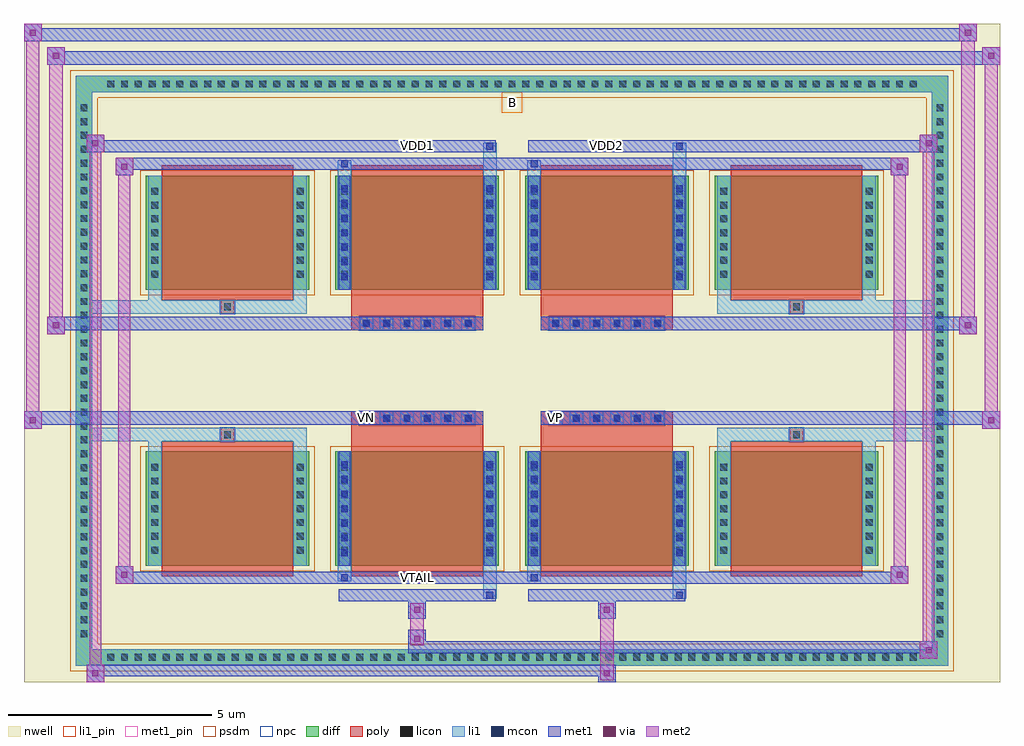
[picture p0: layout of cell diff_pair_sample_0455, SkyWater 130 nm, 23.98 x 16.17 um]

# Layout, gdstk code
import gdstk
lib = gdstk.Library(unit=1e-6, precision=5e-09)
def R(c, l, rs):  # rectangles x0, y0, x1, y1
    for r in rs: c.add(gdstk.rectangle(r[:2], r[2:], *l))
def A(c, l, x, y, w, h, nx, ny, dx, dy):  # array of equal rectangles
    R(c, l, [(x+i*dx, y+j*dy, x+i*dx+w, y+j*dy+h) for i in range(nx) for j in range(ny)])
def P(c, l, *ps):  # polygons
    for p in ps: c.add(gdstk.Polygon(p, *l))
nwell = (64, 20)
diff = (65, 20)
poly = (66, 20)
licon = (66, 44)
li1_pin = (67, 16)
li1 = (67, 20)
mcon = (67, 44)
met1_pin = (68, 16)
met1 = (68, 20)
via = (68, 44)
met2 = (69, 20)
psdm = (94, 20)
npc = (95, 20)

diff_pair_sample_0455 = lib.new_cell('diff_pair_sample_0455')
R(diff_pair_sample_0455, nwell, [(-11.99,-7.65,11.99,8.52), (-9.31,-5.84,-0.01,-0.8), (0.01,-5.84,9.31,-0.8), (-9.31,0.8,-0.01,5.84), (0.01,0.8,9.31,5.84)])
A(diff_pair_sample_0455, diff, -10.065, -7.25, 0.41, 0.41, 59, 2, 0.34, 14.09)
A(diff_pair_sample_0455, diff, -10.72, -6.665, 0.41, 0.41, 1, 39, 0, 0.34)
A(diff_pair_sample_0455, diff, 10.31, -6.665, 0.41, 0.41, 1, 39, 0, 0.34)
A(diff_pair_sample_0455, diff, -9, -4.795, 4.02, 2.81, 4, 2, 4.66, 6.78)
R(diff_pair_sample_0455, diff, [(-10.065,-7.25,10.065,-6.84), (-10.72,-6.665,-10.31,6.665), (10.31,-6.665,10.72,6.665), (-10.065,6.84,10.065,7.25)])
P(diff_pair_sample_0455, diff, [(10.72,7.25),(-10.72,7.25),(-10.72,-6.84),(-10.31,-6.84),(-10.31,6.84),(10.31,6.84),(10.31,-6.84),(-10.31,-6.84),(-10.72,-6.84),(-10.72,-7.25),(10.72,-7.25)])
A(diff_pair_sample_0455, poly, -8.61, -5.045, 3.24, 3.31, 4, 2, 4.66, 6.78)
A(diff_pair_sample_0455, poly, -3.745, -1.33, 0.33, 0.33, 6, 2, 0.5, 2.33)
A(diff_pair_sample_0455, poly, 0.915, -1.33, 0.33, 0.33, 6, 2, 0.5, 2.33)
R(diff_pair_sample_0455, poly, [(-7.155,-1.735,-6.825,-1.405), (-7.155,-1.735,-6.825,-1.405), (-3.95,-1.735,-0.71,-1.33), (0.71,-1.735,3.95,-1.33), (6.825,-1.735,7.155,-1.405), (6.825,-1.735,7.155,-1.405), (-3.95,-1.33,-0.71,-1), (0.71,-1.33,3.95,-1), (-3.95,1,-0.71,1.33), (0.71,1,3.95,1.33), (-3.95,1.33,-0.71,1.735), (0.71,1.33,3.95,1.735), (-7.155,1.405,-6.825,1.735), (-7.155,1.405,-6.825,1.735), (6.825,1.405,7.155,1.735), (6.825,1.405,7.155,1.735)])
A(diff_pair_sample_0455, licon, -9.945, -7.13, 0.17, 0.17, 59, 2, 0.34, 14.09)
A(diff_pair_sample_0455, licon, -10.6, -6.545, 0.17, 0.17, 1, 39, 0, 0.34)
A(diff_pair_sample_0455, licon, 10.43, -6.545, 0.17, 0.17, 1, 39, 0, 0.34)
A(diff_pair_sample_0455, licon, -8.86, -4.495, 0.17, 0.17, 1, 7, 0, 0.34)
A(diff_pair_sample_0455, licon, -5.29, -4.495, 0.17, 0.17, 1, 7, 0, 0.34)
A(diff_pair_sample_0455, licon, -4.2, -4.495, 0.17, 0.17, 1, 7, 0, 0.34)
A(diff_pair_sample_0455, licon, -0.63, -4.495, 0.17, 0.17, 1, 7, 0, 0.34)
A(diff_pair_sample_0455, licon, 0.46, -4.495, 0.17, 0.17, 1, 7, 0, 0.34)
A(diff_pair_sample_0455, licon, 4.03, -4.495, 0.17, 0.17, 1, 7, 0, 0.34)
A(diff_pair_sample_0455, licon, 5.12, -4.495, 0.17, 0.17, 1, 7, 0, 0.34)
A(diff_pair_sample_0455, licon, 8.69, -4.495, 0.17, 0.17, 1, 7, 0, 0.34)
A(diff_pair_sample_0455, licon, -3.665, -1.25, 0.17, 0.17, 6, 2, 0.5, 2.33)
A(diff_pair_sample_0455, licon, 0.995, -1.25, 0.17, 0.17, 6, 2, 0.5, 2.33)
A(diff_pair_sample_0455, licon, -8.86, 2.285, 0.17, 0.17, 1, 7, 0, 0.34)
A(diff_pair_sample_0455, licon, -5.29, 2.285, 0.17, 0.17, 1, 7, 0, 0.34)
A(diff_pair_sample_0455, licon, -4.2, 2.285, 0.17, 0.17, 1, 7, 0, 0.34)
A(diff_pair_sample_0455, licon, -0.63, 2.285, 0.17, 0.17, 1, 7, 0, 0.34)
A(diff_pair_sample_0455, licon, 0.46, 2.285, 0.17, 0.17, 1, 7, 0, 0.34)
A(diff_pair_sample_0455, licon, 4.03, 2.285, 0.17, 0.17, 1, 7, 0, 0.34)
A(diff_pair_sample_0455, licon, 5.12, 2.285, 0.17, 0.17, 1, 7, 0, 0.34)
A(diff_pair_sample_0455, licon, 8.69, 2.285, 0.17, 0.17, 1, 7, 0, 0.34)
R(diff_pair_sample_0455, licon, [(-7.075,-1.655,-6.905,-1.485), (6.905,-1.655,7.075,-1.485), (-7.075,1.485,-6.905,1.655), (6.905,1.485,7.075,1.655)])
R(diff_pair_sample_0455, li1_pin, [(-0.25,6.34,0.25,6.84)])
A(diff_pair_sample_0455, li1, -10.025, -7.21, 0.33, 0.33, 59, 2, 0.34, 14.09)
A(diff_pair_sample_0455, li1, -10.68, -6.625, 0.33, 0.33, 1, 39, 0, 0.34)
A(diff_pair_sample_0455, li1, 10.35, -6.625, 0.33, 0.33, 1, 39, 0, 0.34)
A(diff_pair_sample_0455, li1, -8.94, -4.575, 0.33, 0.33, 1, 7, 0, 0.34)
A(diff_pair_sample_0455, li1, -5.37, -4.575, 0.33, 0.33, 1, 7, 0, 0.34)
A(diff_pair_sample_0455, li1, -4.28, -4.575, 0.33, 0.33, 1, 7, 0, 0.34)
A(diff_pair_sample_0455, li1, -0.71, -4.575, 0.33, 0.33, 1, 7, 0, 0.34)
A(diff_pair_sample_0455, li1, 0.38, -4.575, 0.33, 0.33, 1, 7, 0, 0.34)
A(diff_pair_sample_0455, li1, 3.95, -4.575, 0.33, 0.33, 1, 7, 0, 0.34)
A(diff_pair_sample_0455, li1, 5.04, -4.575, 0.33, 0.33, 1, 7, 0, 0.34)
A(diff_pair_sample_0455, li1, 8.61, -4.575, 0.33, 0.33, 1, 7, 0, 0.34)
A(diff_pair_sample_0455, li1, -4.2, -4.555, 0.17, 0.17, 1, 7, 0, 0.36)
A(diff_pair_sample_0455, li1, -0.63, -4.555, 0.17, 0.17, 1, 7, 0, 0.36)
A(diff_pair_sample_0455, li1, 0.46, -4.555, 0.17, 0.17, 1, 7, 0, 0.36)
A(diff_pair_sample_0455, li1, 4.03, -4.555, 0.17, 0.17, 1, 7, 0, 0.36)
A(diff_pair_sample_0455, li1, -3.745, -1.33, 0.33, 0.33, 6, 2, 0.5, 2.33)
A(diff_pair_sample_0455, li1, 0.915, -1.33, 0.33, 0.33, 6, 2, 0.5, 2.33)
A(diff_pair_sample_0455, li1, -8.94, 2.205, 0.33, 0.33, 1, 7, 0, 0.34)
A(diff_pair_sample_0455, li1, -5.37, 2.205, 0.33, 0.33, 1, 7, 0, 0.34)
A(diff_pair_sample_0455, li1, -4.28, 2.205, 0.33, 0.33, 1, 7, 0, 0.34)
A(diff_pair_sample_0455, li1, -0.71, 2.205, 0.33, 0.33, 1, 7, 0, 0.34)
A(diff_pair_sample_0455, li1, 0.38, 2.205, 0.33, 0.33, 1, 7, 0, 0.34)
A(diff_pair_sample_0455, li1, 3.95, 2.205, 0.33, 0.33, 1, 7, 0, 0.34)
A(diff_pair_sample_0455, li1, 5.04, 2.205, 0.33, 0.33, 1, 7, 0, 0.34)
A(diff_pair_sample_0455, li1, 8.61, 2.205, 0.33, 0.33, 1, 7, 0, 0.34)
A(diff_pair_sample_0455, li1, -4.2, 2.225, 0.17, 0.17, 1, 7, 0, 0.36)
A(diff_pair_sample_0455, li1, -0.63, 2.225, 0.17, 0.17, 1, 7, 0, 0.36)
A(diff_pair_sample_0455, li1, 0.46, 2.225, 0.17, 0.17, 1, 7, 0, 0.36)
A(diff_pair_sample_0455, li1, 4.03, 2.225, 0.17, 0.17, 1, 7, 0, 0.36)
R(diff_pair_sample_0455, li1, [(-10.72,-7.25,-10.31,-6.84), (-10.72,-7.25,-10.31,-6.84), (-10.31,-7.25,10.31,-6.84), (10.31,-7.25,10.72,-6.84), (10.31,-7.25,10.72,-6.84), (-10.72,-6.84,-10.31,6.84), (10.31,-6.84,10.72,6.84), (-0.71,-5.6,-0.38,-4.795), (-0.63,-5.6,-0.46,-5.43), (3.95,-5.6,4.28,-4.795), (4.03,-5.6,4.2,-5.43), (-4.28,-5.17,-3.95,-4.795), (-4.2,-5.17,-4.03,-5), (0.38,-5.17,0.71,-4.795), (0.46,-5.17,0.63,-5), (-8.94,-4.795,-8.61,-1.985), (-5.37,-4.795,-5.04,-1.985), (-4.28,-4.795,-3.95,-1.985), (-0.71,-4.795,-0.38,-1.985), (0.38,-4.795,0.71,-1.985), (3.95,-4.795,4.28,-1.985), (5.04,-4.795,5.37,-1.985), (8.61,-4.795,8.94,-1.985), (-4.2,-4.555,-4.03,-2.225), (-0.63,-4.555,-0.46,-2.225), (0.46,-4.555,0.63,-2.225), (4.03,-4.555,4.2,-2.225), (-8.94,-1.985,-8.61,-1.405), (-5.37,-1.985,-5.04,-1.405), (5.04,-1.985,5.37,-1.405), (8.61,-1.985,8.94,-1.405), (-10.72,-1.735,-7.155,-1.405), (-8.94,-1.735,-7.155,-1.405), (-7.155,-1.735,-6.825,-1.405), (-6.825,-1.735,-5.04,-1.405), (5.04,-1.735,6.825,-1.405), (6.825,-1.735,7.155,-1.405), (6.825,-1.735,10.72,-1.405), (7.155,-1.735,8.94,-1.405), (-10.72,1.405,-7.155,1.735), (-8.94,1.405,-7.155,1.735), (-8.94,1.405,-8.61,1.985), (-7.155,1.405,-6.825,1.735), (-6.825,1.405,-5.04,1.735), (-5.37,1.405,-5.04,1.985), (5.04,1.405,6.825,1.735), (5.04,1.405,5.37,1.985), (6.825,1.405,7.155,1.735), (6.825,1.405,10.72,1.735), (7.155,1.405,8.94,1.735), (8.61,1.405,8.94,1.985), (-8.94,1.985,-8.61,4.795), (-5.37,1.985,-5.04,4.795), (-4.28,1.985,-3.95,4.795), (-0.71,1.985,-0.38,4.795), (0.38,1.985,0.71,4.795), (3.95,1.985,4.28,4.795), (5.04,1.985,5.37,4.795), (8.61,1.985,8.94,4.795), (-4.2,2.225,-4.03,4.555), (-0.63,2.225,-0.46,4.555), (0.46,2.225,0.63,4.555), (4.03,2.225,4.2,4.555), (-4.28,4.795,-3.95,5.17), (-0.71,4.795,-0.38,5.6), (0.38,4.795,0.71,5.17), (3.95,4.795,4.28,5.6), (-4.2,5,-4.03,5.17), (0.46,5,0.63,5.17), (-0.63,5.43,-0.46,5.6), (4.03,5.43,4.2,5.6), (-10.72,6.84,-10.31,7.25), (-10.72,6.84,-10.31,7.25), (-10.31,6.84,10.31,7.25), (10.31,6.84,10.72,7.25), (10.31,6.84,10.72,7.25)])
A(diff_pair_sample_0455, mcon, -4.2, -4.555, 0.17, 0.17, 1, 7, 0, 0.36)
A(diff_pair_sample_0455, mcon, -0.63, -4.555, 0.17, 0.17, 1, 7, 0, 0.36)
A(diff_pair_sample_0455, mcon, 0.46, -4.555, 0.17, 0.17, 1, 7, 0, 0.36)
A(diff_pair_sample_0455, mcon, 4.03, -4.555, 0.17, 0.17, 1, 7, 0, 0.36)
A(diff_pair_sample_0455, mcon, -3.665, -1.25, 0.17, 0.17, 6, 2, 0.5, 2.33)
A(diff_pair_sample_0455, mcon, 0.995, -1.25, 0.17, 0.17, 6, 2, 0.5, 2.33)
A(diff_pair_sample_0455, mcon, -4.2, 2.225, 0.17, 0.17, 1, 7, 0, 0.36)
A(diff_pair_sample_0455, mcon, -0.63, 2.225, 0.17, 0.17, 1, 7, 0, 0.36)
A(diff_pair_sample_0455, mcon, 0.46, 2.225, 0.17, 0.17, 1, 7, 0, 0.36)
A(diff_pair_sample_0455, mcon, 4.03, 2.225, 0.17, 0.17, 1, 7, 0, 0.36)
R(diff_pair_sample_0455, mcon, [(-0.63,-5.6,-0.46,-5.43), (4.03,-5.6,4.2,-5.43), (-4.2,-5.17,-4.03,-5), (0.46,-5.17,0.63,-5), (-4.2,5,-4.03,5.17), (0.46,5,0.63,5.17), (-0.63,5.43,-0.46,5.6), (4.03,5.43,4.2,5.6)])
R(diff_pair_sample_0455, met1_pin, [(-2.465,-5.21,-2.195,-4.94), (-3.715,-1.29,-3.445,-1.02), (0.945,-1.29,1.215,-1.02), (-2.465,5.39,-2.195,5.66), (2.195,5.39,2.465,5.66)])
A(diff_pair_sample_0455, met1, -4.26, -4.615, 0.29, 0.29, 1, 7, 0, 0.36)
A(diff_pair_sample_0455, met1, -0.69, -4.615, 0.29, 0.29, 1, 7, 0, 0.36)
A(diff_pair_sample_0455, met1, 0.4, -4.615, 0.29, 0.29, 1, 7, 0, 0.36)
A(diff_pair_sample_0455, met1, 3.97, -4.615, 0.29, 0.29, 1, 7, 0, 0.36)
A(diff_pair_sample_0455, met1, -3.725, -1.31, 0.29, 0.29, 6, 2, 0.5, 2.33)
A(diff_pair_sample_0455, met1, 0.935, -1.31, 0.29, 0.29, 6, 2, 0.5, 2.33)
A(diff_pair_sample_0455, met1, -4.26, 2.165, 0.29, 0.29, 1, 7, 0, 0.36)
A(diff_pair_sample_0455, met1, -0.69, 2.165, 0.29, 0.29, 1, 7, 0, 0.36)
A(diff_pair_sample_0455, met1, 0.4, 2.165, 0.29, 0.29, 1, 7, 0, 0.36)
A(diff_pair_sample_0455, met1, 3.97, 2.165, 0.29, 0.29, 1, 7, 0, 0.36)
R(diff_pair_sample_0455, met1, [(-10.45,-7.65,-10.02,-7.22), (2.115,-7.65,2.545,-7.22), (-10.45,-7.51,2.545,-7.22), (10.02,-7.08,10.45,-6.65), (-2.545,-6.94,10.45,-6.65), (-2.545,-6.8,-2.115,-6.37), (-2.545,-6.09,-2.115,-5.66), (2.115,-6.09,2.545,-5.66), (-4.26,-5.66,-0.4,-5.37), (-0.69,-5.66,-0.4,-5.37), (0.4,-5.66,4.26,-5.37), (3.97,-5.66,4.26,-5.37), (-9.74,-5.23,-9.31,-4.8), (-9.74,-5.23,-4.26,-4.94), (-4.26,-5.23,-3.97,-4.94), (-4.26,-5.23,-0.4,-4.94), (-0.4,-5.23,0.4,-4.94), (0.4,-5.23,0.69,-4.94), (0.4,-5.23,4.26,-4.94), (4.26,-5.23,9.74,-4.94), (9.31,-5.23,9.74,-4.8), (-4.26,-4.795,-3.97,-1.985), (-0.69,-4.795,-0.4,-1.985), (0.4,-4.795,0.69,-1.985), (3.97,-4.795,4.26,-1.985), (-11.99,-1.43,-11.56,-1), (11.56,-1.43,11.99,-1), (-11.99,-1.33,-0.71,-1), (-3.95,-1.33,-0.71,-1), (0.71,-1.33,3.95,-1), (0.71,-1.33,11.99,-1), (-11.42,0.9,-10.99,1.33), (10.99,0.9,11.42,1.33), (-11.42,1,-3.95,1.33), (-3.95,1,-0.71,1.33), (0.71,1,3.95,1.33), (3.95,1,11.42,1.33), (-4.26,1.985,-3.97,4.795), (-0.69,1.985,-0.4,4.795), (0.4,1.985,0.69,4.795), (3.97,1.985,4.26,4.795), (-9.74,4.8,-9.31,5.23), (9.31,4.8,9.74,5.23), (-9.74,4.94,-4.26,5.23), (-4.26,4.94,-3.97,5.23), (-4.26,4.94,-0.4,5.23), (-0.4,4.94,0.4,5.23), (0.4,4.94,0.69,5.23), (0.4,4.94,4.26,5.23), (4.26,4.94,9.74,5.23), (-10.45,5.37,-10.02,5.8), (-10.45,5.37,-4.26,5.66), (-4.26,5.37,-0.4,5.66), (-0.69,5.37,-0.4,5.66), (0.4,5.37,4.26,5.66), (3.97,5.37,4.26,5.66), (4.26,5.37,10.45,5.66), (10.02,5.37,10.45,5.8), (-11.42,7.52,-10.99,7.95), (-11.42,7.52,-9.31,7.85), (-9.31,7.52,9.31,7.85), (9.31,7.52,11.99,7.85), (11.56,7.52,11.99,7.95), (-11.99,8.09,-11.56,8.52), (-11.99,8.09,-9.31,8.42), (-9.31,8.09,9.31,8.42), (9.31,8.09,11.42,8.42), (10.99,8.09,11.42,8.52)])
R(diff_pair_sample_0455, via, [(-10.31,-7.51,-10.16,-7.36), (2.255,-7.51,2.405,-7.36), (10.16,-6.94,10.31,-6.79), (-2.405,-6.66,-2.255,-6.51), (-2.405,-5.95,-2.255,-5.8), (2.255,-5.95,2.405,-5.8), (-9.6,-5.09,-9.45,-4.94), (9.45,-5.09,9.6,-4.94), (-11.85,-1.29,-11.7,-1.14), (11.7,-1.29,11.85,-1.14), (-11.28,1.04,-11.13,1.19), (11.13,1.04,11.28,1.19), (-9.6,4.94,-9.45,5.09), (9.45,4.94,9.6,5.09), (-10.31,5.51,-10.16,5.66), (10.16,5.51,10.31,5.66), (-11.28,7.66,-11.13,7.81), (11.7,7.66,11.85,7.81), (-11.85,8.23,-11.7,8.38), (11.13,8.23,11.28,8.38)])
R(diff_pair_sample_0455, met2, [(-10.45,-7.65,-10.02,-7.22), (-10.38,-7.65,-10.09,5.8), (-10.09,-7.65,-10.02,-7.22), (-10.4,-7.6,-10.07,-7.27), (2.165,-7.6,2.495,-7.27), (2.165,-7.27,2.495,-6.04), (10.02,-7.08,10.45,-6.65), (10.09,-7.08,10.38,5.8), (10.38,-7.08,10.45,-6.65), (10.07,-7.03,10.4,-6.7), (-2.495,-6.75,-2.165,-6.42), (-2.495,-6.42,-2.165,-6.04), (-2.495,-6.04,-2.165,-5.71), (2.165,-6.04,2.495,-5.71), (-9.74,-5.23,-9.31,-4.8), (-9.67,-5.23,-9.38,5.23), (-9.38,-5.23,-9.31,-4.8), (9.31,-5.23,9.74,-4.8), (9.38,-5.23,9.67,5.23), (9.67,-5.23,9.74,-4.8), (-9.69,-5.18,-9.36,-4.85), (9.36,-5.18,9.69,-4.85), (-11.99,-1.43,-11.56,-1), (-11.94,-1.43,-11.61,8.52), (-11.61,-1.43,-11.56,-1), (11.56,-1.43,11.99,-1), (11.61,-1.43,11.94,7.95), (11.94,-1.43,11.99,-1), (-11.94,-1.38,-11.61,-1.05), (11.61,-1.38,11.94,-1.05), (-11.42,0.9,-10.99,1.33), (-11.37,0.9,-11.04,7.95), (-11.04,0.9,-10.99,1.33), (10.99,0.9,11.42,1.33), (11.04,0.9,11.37,8.52), (11.37,0.9,11.42,1.33), (-11.37,0.95,-11.04,1.28), (11.04,0.95,11.37,1.28), (-9.74,4.8,-9.31,5.23), (-9.38,4.8,-9.31,5.23), (9.31,4.8,9.74,5.23), (9.67,4.8,9.74,5.23), (-9.69,4.85,-9.36,5.18), (9.36,4.85,9.69,5.18), (-10.45,5.37,-10.02,5.8), (-10.09,5.37,-10.02,5.8), (10.02,5.37,10.45,5.8), (10.38,5.37,10.45,5.8), (-10.4,5.42,-10.07,5.75), (10.07,5.42,10.4,5.75), (-11.42,7.52,-10.99,7.95), (-11.04,7.52,-10.99,7.95), (11.56,7.52,11.99,7.95), (11.94,7.52,11.99,7.95), (-11.37,7.57,-11.04,7.9), (11.61,7.57,11.94,7.9), (-11.99,8.09,-11.56,8.52), (-11.61,8.09,-11.56,8.52), (10.99,8.09,11.42,8.52), (11.37,8.09,11.42,8.52), (-11.94,8.14,-11.61,8.47), (11.04,8.14,11.37,8.47)])
A(diff_pair_sample_0455, psdm, -9.13, -4.925, 4.28, 3.07, 4, 2, 4.66, 6.78)
P(diff_pair_sample_0455, psdm, [(10.85,7.38),(-10.85,7.38),(-10.85,-6.71),(-10.18,-6.71),(-10.18,6.71),(10.18,6.71),(10.18,-6.71),(-10.18,-6.71),(-10.85,-6.71),(-10.85,-7.38),(10.85,-7.38)])
A(diff_pair_sample_0455, npc, -3.765, -1.35, 0.37, 0.37, 6, 2, 0.5, 2.33)
A(diff_pair_sample_0455, npc, 0.895, -1.35, 0.37, 0.37, 6, 2, 0.5, 2.33)
R(diff_pair_sample_0455, npc, [(-7.175,-1.755,-6.805,-1.385), (6.805,-1.755,7.175,-1.385), (-3.765,-1.35,-2.895,-0.98), (-3.765,-1.35,-2.895,-0.98), (-3.265,-1.35,-2.395,-0.98), (-3.265,-1.35,-2.395,-0.98), (-2.765,-1.35,-1.895,-0.98), (-2.765,-1.35,-1.895,-0.98), (-2.265,-1.35,-1.395,-0.98), (-2.265,-1.35,-1.395,-0.98), (-1.765,-1.35,-0.895,-0.98), (-1.765,-1.35,-0.895,-0.98), (0.895,-1.35,1.765,-0.98), (0.895,-1.35,1.765,-0.98), (1.395,-1.35,2.265,-0.98), (1.395,-1.35,2.265,-0.98), (1.895,-1.35,2.765,-0.98), (1.895,-1.35,2.765,-0.98), (2.395,-1.35,3.265,-0.98), (2.395,-1.35,3.265,-0.98), (2.895,-1.35,3.765,-0.98), (2.895,-1.35,3.765,-0.98), (-3.765,0.98,-2.895,1.35), (-3.765,0.98,-2.895,1.35), (-3.265,0.98,-2.395,1.35), (-3.265,0.98,-2.395,1.35), (-2.765,0.98,-1.895,1.35), (-2.765,0.98,-1.895,1.35), (-2.265,0.98,-1.395,1.35), (-2.265,0.98,-1.395,1.35), (-1.765,0.98,-0.895,1.35), (-1.765,0.98,-0.895,1.35), (0.895,0.98,1.765,1.35), (0.895,0.98,1.765,1.35), (1.395,0.98,2.265,1.35), (1.395,0.98,2.265,1.35), (1.895,0.98,2.765,1.35), (1.895,0.98,2.765,1.35), (2.395,0.98,3.265,1.35), (2.395,0.98,3.265,1.35), (2.895,0.98,3.765,1.35), (2.895,0.98,3.765,1.35), (-7.175,1.385,-6.805,1.755), (6.805,1.385,7.175,1.755)])
diff_pair_sample_0455.add(gdstk.Label('VTAIL', (-2.33,-5.075), layer=68, texttype=5))
diff_pair_sample_0455.add(gdstk.Label('VN', (-3.58,-1.155), layer=68, texttype=5))
diff_pair_sample_0455.add(gdstk.Label('VP', (1.08,-1.155), layer=68, texttype=5))
diff_pair_sample_0455.add(gdstk.Label('B', (0,6.59), layer=67, texttype=5))
diff_pair_sample_0455.add(gdstk.Label('VDD2', (2.33,5.525), layer=68, texttype=5))
diff_pair_sample_0455.add(gdstk.Label('VDD1', (-2.33,5.525), layer=68, texttype=5))

lib.write_gds('diff_pair_sample_0455.gds')
